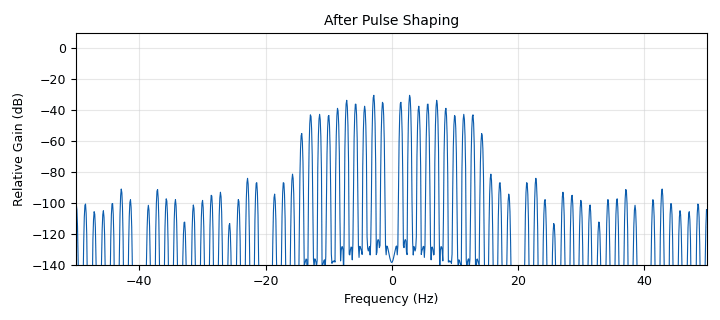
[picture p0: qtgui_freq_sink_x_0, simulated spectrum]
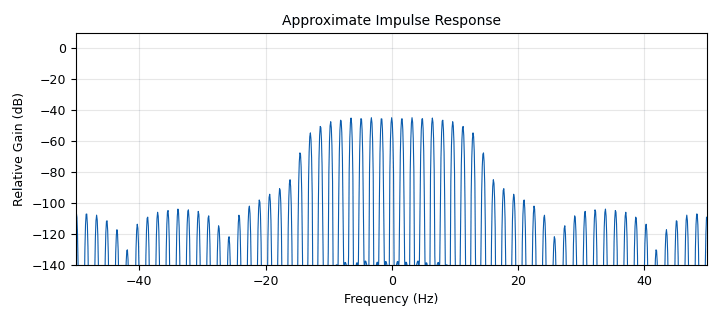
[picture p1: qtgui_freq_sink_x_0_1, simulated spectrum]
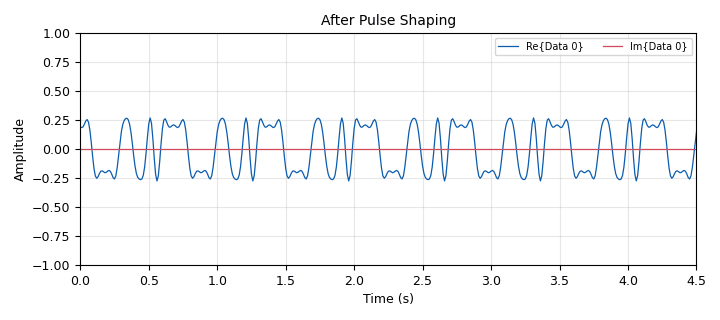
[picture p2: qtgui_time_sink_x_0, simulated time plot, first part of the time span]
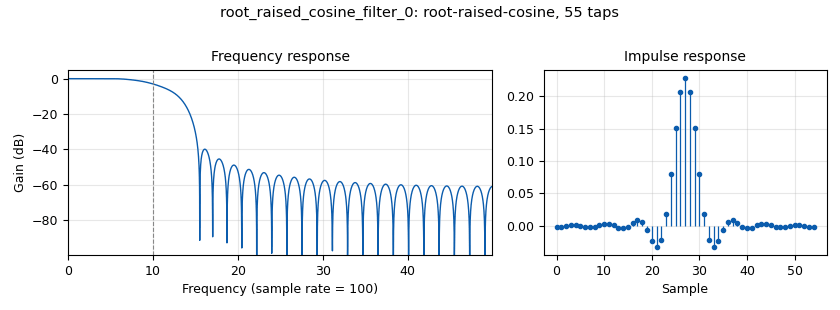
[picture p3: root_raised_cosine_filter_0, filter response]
options:
  parameters:
    generate_options: qt_gui
    id: task1
    output_language: python
    title: Not titled yet
  states: {}

blocks:
- name: samp_rate
  id: variable
  parameters:
    value: symb_rate*sps
  states: {}
- name: sps
  id: variable
  parameters:
    value: '5'
  states: {}
- name: symb_rate
  id: variable
  parameters:
    value: '20'
  states: {}
- name: blocks_vector_source_x_0
  id: blocks_vector_source_x
  parameters:
    repeat: 'True'
    type: complex
    vector: (1,1,1,1,-1,-1,-1,-1,1,1,-1,-1,1,-1)
  states: {}
- name: blocks_vector_source_x_0_0
  id: blocks_vector_source_x
  parameters:
    repeat: 'True'
    type: complex
    vector: (0,0,0,0,0,0,0,0,0,0,0,0,0,0,0,0,0,0,0,0,0,0,0,0,0,0,0,0,0,0,1,0,0,0,0,0,0,0,0,0,0,0,0,0,0,0,0,0,0,0,0,0,0,0,0,0,0,0,0,0,0,0)
  states: {}
- name: interp_fir_filter_xxx_0
  id: interp_fir_filter_xxx
  parameters:
    interp: sps
    taps: '1'
    type: ccc
  states: {}
- name: qtgui_freq_sink_x_0
  id: qtgui_freq_sink_x
  parameters:
    bw: samp_rate
    fc: '0'
    fftsize: '1024'
    name: '"After Pulse Shaping"'
    type: complex
  states: {}
- name: qtgui_freq_sink_x_0_0
  id: qtgui_freq_sink_x
  parameters:
    bw: samp_rate
    fc: '0'
    fftsize: '1024'
    name: '"Before Pulse Shaping"'
    type: complex
  states: {state: disabled}
- name: qtgui_freq_sink_x_0_1
  id: qtgui_freq_sink_x
  parameters:
    bw: samp_rate
    fc: '0'
    fftsize: '1024'
    name: '"Approximate Impulse Response"'
    type: complex
  states: {}
- name: qtgui_time_sink_x_0
  id: qtgui_time_sink_x
  parameters:
    name: '"After Pulse Shaping"'
    size: '1024'
    srate: samp_rate
    type: complex
  states: {}
- name: qtgui_time_sink_x_0_0
  id: qtgui_time_sink_x
  parameters:
    name: '"Before Pulse Shaping"'
    size: '1024'
    srate: samp_rate
    type: complex
  states: {state: disabled}
- name: rational_resampler_xxx_0
  id: rational_resampler_xxx
  parameters:
    decim: '1'
    interp: sps
    type: ccc
  states: {state: disabled}
- name: root_raised_cosine_filter_0
  id: root_raised_cosine_filter
  parameters:
    alpha: '0.5'
    decim: '1'
    gain: '1'
    ntaps: 11*sps
    samp_rate: samp_rate
    sym_rate: symb_rate
    type: fir_filter_ccf
  states: {}
- name: root_raised_cosine_filter_0_0
  id: root_raised_cosine_filter
  parameters:
    alpha: '0.5'
    decim: '1'
    gain: '1'
    ntaps: 11*sps
    samp_rate: samp_rate
    sym_rate: symb_rate
    type: fir_filter_ccf
  states: {}

connections:
- [blocks_vector_source_x_0, '0', interp_fir_filter_xxx_0, '0']
- [blocks_vector_source_x_0, '0', rational_resampler_xxx_0, '0']
- [blocks_vector_source_x_0_0, '0', root_raised_cosine_filter_0_0, '0']
- [interp_fir_filter_xxx_0, '0', qtgui_freq_sink_x_0_0, '0']
- [interp_fir_filter_xxx_0, '0', qtgui_time_sink_x_0_0, '0']
- [interp_fir_filter_xxx_0, '0', root_raised_cosine_filter_0, '0']
- [rational_resampler_xxx_0, '0', qtgui_freq_sink_x_0_0, '0']
- [rational_resampler_xxx_0, '0', qtgui_time_sink_x_0_0, '0']
- [rational_resampler_xxx_0, '0', root_raised_cosine_filter_0, '0']
- [root_raised_cosine_filter_0, '0', qtgui_freq_sink_x_0, '0']
- [root_raised_cosine_filter_0, '0', qtgui_time_sink_x_0, '0']
- [root_raised_cosine_filter_0_0, '0', qtgui_freq_sink_x_0_1, '0']

metadata:
  file_format: 1
